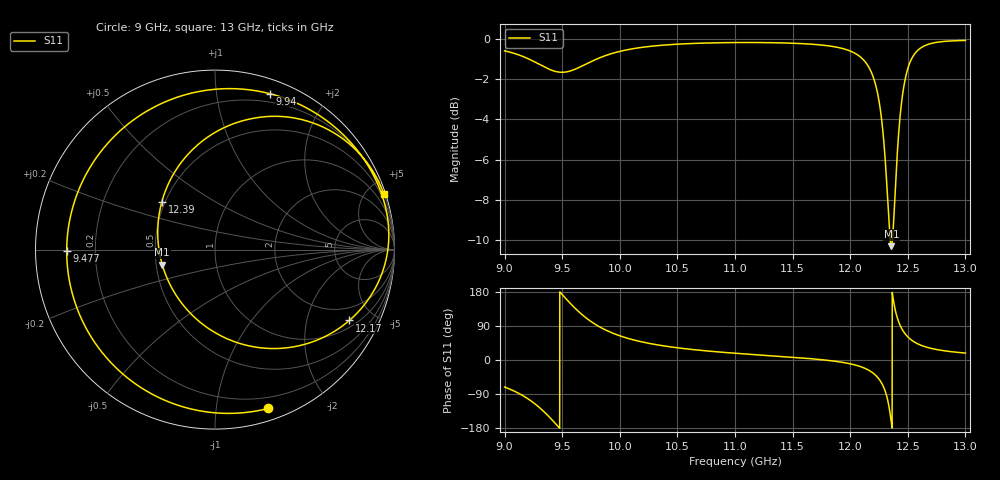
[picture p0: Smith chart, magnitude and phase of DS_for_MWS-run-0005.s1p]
! TOUCHSTONE file generated by CST DESIGN STUDIO
! Date and time: Tue Feb  4 16:38:38 2025
! Project name: C:\Work\MatlabApps\UnitCellOptimizationMatlab\CST\unitcell.cst
! Tree item: Tasks\Sweep1\SPara1\S-Parameters
! Header version: 2024
! Port assignment regex: !\s*Touchstone port\s*([0-9]+)\s*=\s*(CST MWS port|CST DES external port|CST DES block port)\s*(.+)\s* \(\"(.*)\"\)(\s*mode\s*([0-9]+))?.*
! Touchstone port assignment:
! Touchstone port 1 = CST DES external port 1 ("")
# GHz S MA R 50
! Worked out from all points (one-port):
!   4001 points, 9 GHz to 13 GHz, reference 50 ohm
!   lowest |S11| = -10.3 dB at 12.36 GHz (marker M1), VSWR 1.88, Z = 27 - j5.02 ohm
!   |S11| at or under -10 dB: 12.34742 GHz to 12.36625 GHz (18.83 MHz wide, 0.152 % of centre)
!   S11 on the Smith chart (normalised r, x): 9 GHz: 0.10, -1.39; 9.477 GHz: 0.10, -0.00; 9.94 GHz: 0.12, +1.40; 12.17 GHz: 1.30, -3.60; 12.39 GHz: 0.48, +0.31; 13 GHz: 0.19, +6.18
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9  0.9335 -71.4
9.152  0.9055 -92.9
9.263  0.8756 -115.6
9.362  0.8465 -142.3
9.477  0.8263 -179.6
9.5  0.8258 172.6
9.604  0.8385 138.9
9.697  0.8628 113.6
9.802  0.8913 91.4
9.94  0.9208 70.7
10  0.9305 63.9
10.215  0.9541 46.3
10.5  0.9696 32.2
11  0.9787 17.8
11.5  0.975 7.2
12  0.9326 -10.1
12.166  0.8459 -27.8
12.231  0.7477 -43.4
12.287  0.5761 -69.4
12.322  0.4143 -101.2
12.357  0.3057 -164.0
12.387  0.3991 137.8
12.413  0.5423 107.4
12.438  0.6633 88.4
12.5  0.8436 61.1
12.568  0.9242 45.5
12.66  0.9649 34.1
13  0.9905 18.4
